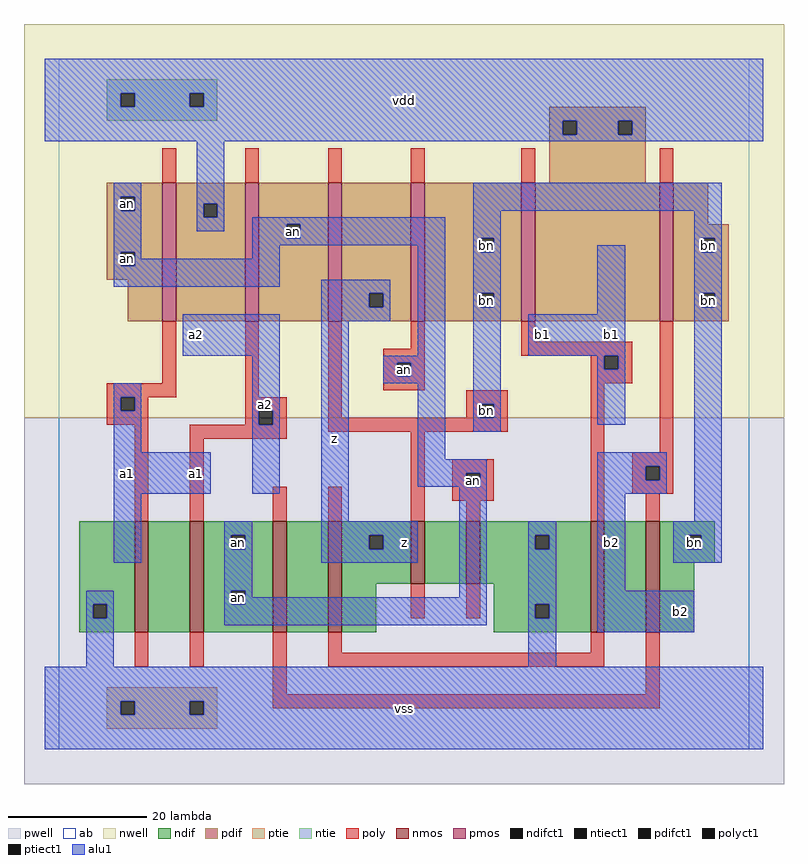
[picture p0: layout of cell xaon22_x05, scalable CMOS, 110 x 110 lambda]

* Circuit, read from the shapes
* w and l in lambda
.subckt xaon22_x05 a1 a2 an b1 b2 bn vdd vss z
M1 n1 a1 vss vss nfet w=16 l=2
M2 an a2 n1 vss nfet w=16 l=2
M3 n2 b2 an vss nfet w=16 l=2
M4 z b1 n2 vss nfet w=16 l=2
M5 n3 bn z vss nfet w=9 l=2
M6 vss an n3 vss nfet w=9 l=2
M7 n4 b1 vss vss nfet w=16 l=2
M8 bn b2 n4 vss nfet w=16 l=2
M9 vdd a1 an vdd pfet w=20 l=2
M10 an a2 vdd vdd pfet w=20 l=2
M11 z bn an vdd pfet w=20 l=2
M12 bn an z vdd pfet w=20 l=2
M13 vdd b1 bn vdd pfet w=20 l=2
M14 bn b2 vdd vdd pfet w=20 l=2
.ends

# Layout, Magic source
magic
tech scmos
<< ab >>
rect 0 0 100 100
<< nwell >>
rect -5 48 105 105
<< pwell >>
rect -5 -5 105 48
<< poly >>
rect 15 82 17 87
rect 27 82 29 87
rect 39 82 41 87
rect 51 82 53 87
rect 67 82 69 87
rect 87 82 89 87
rect 15 53 17 62
rect 7 51 17 53
rect 27 51 29 62
rect 7 49 9 51
rect 11 49 13 51
rect 7 47 13 49
rect 27 49 33 51
rect 27 47 29 49
rect 31 47 33 49
rect 11 33 13 47
rect 19 45 33 47
rect 39 48 41 62
rect 51 58 53 62
rect 47 56 53 58
rect 67 59 69 62
rect 67 57 83 59
rect 47 54 49 56
rect 51 54 53 56
rect 47 52 53 54
rect 77 55 79 57
rect 81 55 83 57
rect 77 53 83 55
rect 59 50 65 52
rect 59 48 61 50
rect 63 48 65 50
rect 39 46 65 48
rect 19 33 21 45
rect 31 33 33 38
rect 39 33 41 38
rect 51 33 53 46
rect 57 40 63 42
rect 57 38 59 40
rect 61 38 63 40
rect 57 36 63 38
rect 59 33 61 36
rect 77 33 79 53
rect 87 43 89 62
rect 83 41 89 43
rect 83 39 85 41
rect 87 39 89 41
rect 83 37 89 39
rect 85 33 87 37
rect 51 19 53 24
rect 59 19 61 24
rect 11 12 13 17
rect 19 12 21 17
rect 31 8 33 17
rect 39 14 41 17
rect 77 14 79 17
rect 39 12 79 14
rect 85 8 87 17
rect 31 6 87 8
<< ndif >>
rect 3 21 11 33
rect 3 19 5 21
rect 7 19 11 21
rect 3 17 11 19
rect 13 17 19 33
rect 21 31 31 33
rect 21 29 25 31
rect 27 29 31 31
rect 21 23 31 29
rect 21 21 25 23
rect 27 21 31 23
rect 21 17 31 21
rect 33 17 39 33
rect 41 31 51 33
rect 41 29 45 31
rect 47 29 51 31
rect 41 24 51 29
rect 53 24 59 33
rect 61 31 77 33
rect 61 29 69 31
rect 71 29 77 31
rect 61 24 77 29
rect 41 17 46 24
rect 63 21 77 24
rect 63 19 69 21
rect 71 19 77 21
rect 63 17 77 19
rect 79 17 85 33
rect 87 31 95 33
rect 87 29 91 31
rect 93 29 95 31
rect 87 27 95 29
rect 87 17 92 27
<< pdif >>
rect 71 91 85 93
rect 71 89 73 91
rect 75 89 81 91
rect 83 89 85 91
rect 71 82 85 89
rect 7 80 15 82
rect 7 78 9 80
rect 11 78 15 80
rect 7 72 15 78
rect 7 70 9 72
rect 11 70 15 72
rect 7 68 15 70
rect 10 62 15 68
rect 17 79 27 82
rect 17 77 21 79
rect 23 77 27 79
rect 17 62 27 77
rect 29 76 39 82
rect 29 74 33 76
rect 35 74 39 76
rect 29 62 39 74
rect 41 66 51 82
rect 41 64 45 66
rect 47 64 51 66
rect 41 62 51 64
rect 53 74 67 82
rect 53 72 61 74
rect 63 72 67 74
rect 53 66 67 72
rect 53 64 61 66
rect 63 64 67 66
rect 53 62 67 64
rect 69 62 87 82
rect 89 76 94 82
rect 89 74 97 76
rect 89 72 93 74
rect 95 72 97 74
rect 89 66 97 72
rect 89 64 93 66
rect 95 64 97 66
rect 89 62 97 64
<< alu1 >>
rect -2 95 102 100
rect -2 93 9 95
rect 11 93 19 95
rect 21 93 102 95
rect -2 91 102 93
rect -2 89 73 91
rect 75 89 81 91
rect 83 89 102 91
rect -2 88 102 89
rect 8 80 12 82
rect 8 78 9 80
rect 11 78 12 80
rect 8 72 12 78
rect 20 79 24 88
rect 20 77 21 79
rect 23 77 24 79
rect 60 78 96 82
rect 20 75 24 77
rect 28 76 56 77
rect 8 70 9 72
rect 11 71 12 72
rect 28 74 33 76
rect 35 74 56 76
rect 28 73 56 74
rect 28 71 32 73
rect 11 70 32 71
rect 8 67 32 70
rect 38 66 48 68
rect 38 64 45 66
rect 47 64 48 66
rect 18 57 32 63
rect 8 51 12 53
rect 8 49 9 51
rect 11 49 12 51
rect 8 43 12 49
rect 28 49 32 57
rect 28 47 29 49
rect 31 47 32 49
rect 8 37 22 43
rect 28 37 32 47
rect 38 62 48 64
rect 8 27 12 37
rect 38 33 42 62
rect 52 57 56 73
rect 47 56 56 57
rect 47 54 49 56
rect 51 54 56 56
rect 47 53 56 54
rect 52 42 56 53
rect 60 74 64 78
rect 60 72 61 74
rect 63 72 64 74
rect 92 74 96 78
rect 60 66 64 72
rect 60 64 61 66
rect 63 64 64 66
rect 60 50 64 64
rect 78 63 82 73
rect 68 57 82 63
rect 60 48 61 50
rect 63 48 64 50
rect 60 46 64 48
rect 78 55 79 57
rect 81 55 82 57
rect 78 47 82 55
rect 92 72 93 74
rect 95 72 96 74
rect 92 66 96 72
rect 92 64 93 66
rect 95 64 96 66
rect 52 40 62 42
rect 52 38 59 40
rect 61 38 62 40
rect 24 31 28 33
rect 24 29 25 31
rect 27 29 28 31
rect 24 23 28 29
rect 38 31 52 33
rect 38 29 45 31
rect 47 29 52 31
rect 38 27 52 29
rect 4 21 8 23
rect 4 19 5 21
rect 7 19 8 21
rect 4 12 8 19
rect 24 21 25 23
rect 27 22 28 23
rect 58 22 62 38
rect 78 41 88 43
rect 78 39 85 41
rect 87 39 88 41
rect 78 37 88 39
rect 27 21 62 22
rect 24 18 62 21
rect 68 31 72 33
rect 68 29 69 31
rect 71 29 72 31
rect 68 21 72 29
rect 68 19 69 21
rect 71 19 72 21
rect 68 12 72 19
rect 78 23 82 37
rect 92 33 96 64
rect 89 31 96 33
rect 89 29 91 31
rect 93 29 96 31
rect 89 27 96 29
rect 78 17 92 23
rect -2 7 102 12
rect -2 5 9 7
rect 11 5 19 7
rect 21 5 102 7
rect -2 0 102 5
<< ptie >>
rect 7 7 23 9
rect 7 5 9 7
rect 11 5 19 7
rect 21 5 23 7
rect 7 3 23 5
<< ntie >>
rect 7 95 23 97
rect 7 93 9 95
rect 11 93 19 95
rect 21 93 23 95
rect 7 91 23 93
<< nmos >>
rect 11 17 13 33
rect 19 17 21 33
rect 31 17 33 33
rect 39 17 41 33
rect 51 24 53 33
rect 59 24 61 33
rect 77 17 79 33
rect 85 17 87 33
<< pmos >>
rect 15 62 17 82
rect 27 62 29 82
rect 39 62 41 82
rect 51 62 53 82
rect 67 62 69 82
rect 87 62 89 82
<< polyct1 >>
rect 9 49 11 51
rect 29 47 31 49
rect 49 54 51 56
rect 79 55 81 57
rect 61 48 63 50
rect 59 38 61 40
rect 85 39 87 41
<< ndifct1 >>
rect 5 19 7 21
rect 25 29 27 31
rect 25 21 27 23
rect 45 29 47 31
rect 69 29 71 31
rect 69 19 71 21
rect 91 29 93 31
<< ntiect1 >>
rect 9 93 11 95
rect 19 93 21 95
<< ptiect1 >>
rect 9 5 11 7
rect 19 5 21 7
<< pdifct1 >>
rect 73 89 75 91
rect 81 89 83 91
rect 9 78 11 80
rect 9 70 11 72
rect 21 77 23 79
rect 33 74 35 76
rect 45 64 47 66
rect 61 72 63 74
rect 61 64 63 66
rect 93 72 95 74
rect 93 64 95 66
<< labels >>
rlabel pdifct1 10 71 10 71 6 an
rlabel pdifct1 10 79 10 79 6 an
rlabel ndifct1 26 22 26 22 6 an
rlabel ndifct1 26 30 26 30 6 an
rlabel pdifct1 34 75 34 75 6 an
rlabel polyct1 60 39 60 39 6 an
rlabel polyct1 62 49 62 49 6 bn
rlabel polyct1 50 55 50 55 6 an
rlabel pdifct1 62 65 62 65 6 bn
rlabel pdifct1 62 73 62 73 6 bn
rlabel ndifct1 92 30 92 30 6 bn
rlabel pdifct1 94 65 94 65 6 bn
rlabel pdifct1 94 73 94 73 6 bn
rlabel alu1 20 40 20 40 6 a1
rlabel alu1 10 40 10 40 6 a1
rlabel alu1 20 60 20 60 6 a2
rlabel alu1 40 45 40 45 6 z
rlabel alu1 30 50 30 50 6 a2
rlabel alu1 50 6 50 6 6 vss
rlabel alu1 50 30 50 30 6 z
rlabel alu1 70 60 70 60 6 b1
rlabel alu1 50 94 50 94 6 vdd
rlabel alu1 90 20 90 20 6 b2
rlabel alu1 80 30 80 30 6 b2
rlabel alu1 80 60 80 60 6 b1
<< end >>
